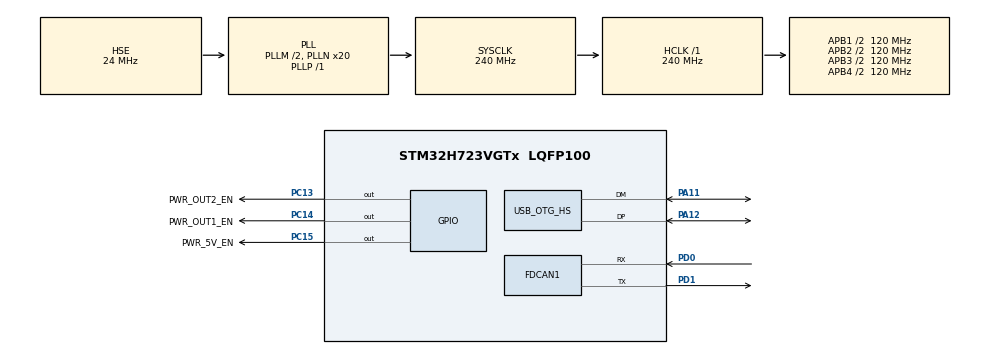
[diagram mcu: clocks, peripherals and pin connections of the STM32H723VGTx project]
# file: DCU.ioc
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CORTEX_M7.default_mode_Activation=1
FDCAN1.AutoRetransmission=ENABLE
FDCAN1.CalculateBaudRateNominal=1000000
FDCAN1.CalculateTimeBitNominal=1000
FDCAN1.CalculateTimeQuantumNominal=12.5
FDCAN1.ExtFiltersNbr=4
FDCAN1.NominalPrescaler=1
FDCAN1.NominalSyncJumpWidth=20
FDCAN1.NominalTimeSeg1=59
FDCAN1.NominalTimeSeg2=20
FDCAN1.ProtocolException=ENABLE
FDCAN1.RxBuffersNbr=2
FDCAN1.RxFifo0ElmtsNbr=8
FDCAN1.RxFifo1ElmtsNbr=8
FDCAN1.StdFiltersNbr=4
FDCAN1.TxBuffersNbr=8
FDCAN1.TxEventsNbr=8
FDCAN1.TxFifoQueueElmtsNbr=8
Mcu.Family=STM32H7
Mcu.Name=STM32H723VGTx
Mcu.Package=LQFP100
NVIC.FDCAN1_IT0_IRQn=true\:0\:0\:false\:false\:true\:true\:true\:true
NVIC.OTG_HS_IRQn=true\:0\:0\:false\:false\:true\:false\:true\:true
NVIC.PriorityGroup=NVIC_PRIORITYGROUP_4
NVIC.TIM1_UP_IRQn=true\:0\:0\:false\:false\:true\:true\:true\:true
PA11.Mode=Device_Only_FS
PA11.Signal=USB_OTG_HS_DM
PA12.Mode=Device_Only_FS
PA12.Signal=USB_OTG_HS_DP
PA13(JTMS/SWDIO).Mode=Serial_Wire
PA13(JTMS/SWDIO).Signal=DEBUG_JTMS-SWDIO
PA14(JTCK/SWCLK).Mode=Serial_Wire
PA14(JTCK/SWCLK).Signal=DEBUG_JTCK-SWCLK
PC13.GPIO_Label=PWR_OUT2_EN
PC13.Signal=GPIO_Output
PC14-OSC32_IN.GPIO_Label=PWR_OUT1_EN
PC14-OSC32_IN.GPIO_PuPd=GPIO_PULLDOWN
PC14-OSC32_IN.Signal=GPIO_Output
PC15-OSC32_OUT.GPIO_Label=PWR_5V_EN
PC15-OSC32_OUT.Signal=GPIO_Output
PD0.Mode=FDCAN_Activate
PD0.Signal=FDCAN1_RX
PD1.Mode=FDCAN_Activate
PD1.Signal=FDCAN1_TX
PH0-OSC_IN.Mode=HSE-External-Oscillator
PH0-OSC_IN.Signal=RCC_OSC_IN
PH1-OSC_OUT.Mode=HSE-External-Oscillator
PH1-OSC_OUT.Signal=RCC_OSC_OUT
ProjectManager.HeapSize=0x200
ProjectManager.StackSize=0x400
ProjectManager.TargetToolchain=CMake
RCC.ADCFreq_Value=48375000
RCC.APB1Freq_Value=120000000
RCC.APB2Freq_Value=120000000
RCC.APB3Freq_Value=120000000
RCC.APB4Freq_Value=120000000
RCC.CortexFreq_Value=240000000
RCC.D1PPRE=RCC_APB3_DIV2
RCC.D2PPRE1=RCC_APB1_DIV2
RCC.D2PPRE2=RCC_APB2_DIV2
RCC.D3PPRE=RCC_APB4_DIV2
RCC.DIVM1=2
RCC.DIVN1=20
RCC.DIVP1=1
RCC.DIVQ1=3
RCC.HCLKFreq_Value=240000000
RCC.HSE_VALUE=24000000
RCC.PLL2FRACN=0
RCC.PLL3FRACN=0
RCC.PLLFRACN=0
RCC.PLLSourceVirtual=RCC_PLLSOURCE_HSE
RCC.SYSCLKFreq_VALUE=240000000
RCC.SYSCLKSource=RCC_SYSCLKSOURCE_PLLCLK
RCC.USBCLockSelection=RCC_USBCLKSOURCE_HSI48
RCC.USBFreq_Value=48000000
TIM1.Period=20-1
TIM1.Prescaler=24000-1
TIM2.Prescaler=239
USB_DEVICE.CLASS_NAME_HS=CDC
USB_DEVICE.VirtualMode=Cdc
USB_DEVICE.VirtualModeHS=Cdc_HS
USB_OTG_HS.VirtualMode-Device_Only_FS=Device_Only_FS
VP_MEMORYMAP_VS_MEMORYMAP.Mode=CurAppReg
VP_TIM1_VS_ClockSourceINT.Mode=Internal
VP_TIM2_VS_ClockSourceINT.Mode=Internal
VP_USB_DEVICE_VS_USB_DEVICE_CDC_HS.Mode=CDC_HS
board=custom

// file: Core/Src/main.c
/* USER CODE BEGIN Header */
/**
  ******************************************************************************
  * @file           : main.c
  * @brief          : Main program body
  ******************************************************************************
  * @attention
  *
  * Copyright (c) 2026 STMicroelectronics.
  * All rights reserved.
  *
  * This software is licensed under terms that can be found in the LICENSE file
  * in the root directory of this software component.
  * If no LICENSE file comes with this software, it is provided AS-IS.
  *
  ******************************************************************************
  */
/* USER CODE END Header */
#include "main.h"
#include "fdcan.h"
#include "tim.h"
#include "usb_device.h"
#include "gpio.h"

/* USER CODE BEGIN Includes */
#include "bsp_fdcan.h"
#include <string.h>
#include <stdio.h>

#include "usbd_cdc_if.h"
#include "joint_manager.h"

#include "command_manager.h"
#include "joint_manager.h"
#include "host_protocol.h"
/* USER CODE END Includes */

/* USER CODE BEGIN PTD */
DM4310_Feedback feedback;
/* USER CODE END PTD */

/* USER CODE BEGIN PD */
volatile uint8_t target_ready = 0;
float target[4];
/* USER CODE END PD */

/* USER CODE BEGIN PM */

uint32_t send_fail_count = 0;
/* USER CODE END PM */

/* USER CODE BEGIN PV */

uint8_t rx_data[8] = {0};

char usb_msg[128];
uint16_t rxID = 0;
uint8_t buffer[30] = {0};

volatile uint32_t control_tick = 0;
volatile uint32_t control_tick_us = 0;
/* USER CODE END PV */

void SystemClock_Config(void);
static void MPU_Config(void);

int main(void)
{

  /* MPU Configuration--------------------------------------------------------*/
  MPU_Config();

  /* MCU Configuration--------------------------------------------------------*/

  /* Reset of all peripherals, Initializes the Flash interface and the Systick. */
  HAL_Init();

  /* Configure the system clock */
  SystemClock_Config();

  /* Initialize all configured peripherals */
  MX_GPIO_Init();
  MX_USB_DEVICE_Init();
  MX_FDCAN1_Init();
  MX_TIM1_Init();
  MX_TIM2_Init();
  /* USER CODE BEGIN 2 */
  bsp_can_init();
  Joint_Init();

  HAL_FDCAN_ActivateNotification(
    &hfdcan1,
    FDCAN_IT_RX_FIFO0_NEW_MESSAGE,
    0U);
  /* USER CODE BEGIN 2 */

  HAL_GPIO_WritePin(GPIOC,GPIO_PIN_14,GPIO_PIN_SET);

  uint32_t handled_tick = 0;
  HAL_TIM_Base_Start(&htim2);
  HAL_TIM_Base_Start_IT(&htim1);

  uint32_t last_xout_epoch_ms = 0U;
  ControlSnapshot snapshot;
  /* USER CODE END 2 */

  /* Infinite loop */
  /* USER CODE BEGIN WHILE */
  while (1)
  {
    if (Command_GetNewSnapshot(&snapshot, &handled_tick))
    {
      for (uint8_t i = 0; i < JOINT_COUNT; ++i)
        {
          Joint_SendTarget(
              i,
              snapshot.command.target[i],
              snapshot.command.velocity_limit);
        }
    }

    if (Joint_TakeCompletedXoutEpoch())
    {
      (void)HostProtocol_TryTransmitFeedback(HAL_GetTick());
    }

    if ((uint32_t)(HAL_GetTick() - last_xout_epoch_ms) >= 10U)
    {
      bool all_queued = true;

      last_xout_epoch_ms = HAL_GetTick();

      Joint_BeginXoutEpoch();

      for (uint8_t motor_id = 1U; motor_id <= 4U; motor_id++)
      {
        if (!DM4310_RequestOutputPosition(motor_id))
        {
          all_queued = false;
        }
      }

      if (!all_queued)
      {
        Joint_AbortXoutEpoch();
      }
    }
    /* USER CODE END WHILE */

  }
}

void SystemClock_Config(void)
{
  RCC_OscInitTypeDef RCC_OscInitStruct = {0};
  RCC_ClkInitTypeDef RCC_ClkInitStruct = {0};

  /** Supply configuration update enable
  */
  HAL_PWREx_ConfigSupply(PWR_LDO_SUPPLY);

  /** Configure the main internal regulator output voltage
  */
  __HAL_PWR_VOLTAGESCALING_CONFIG(PWR_REGULATOR_VOLTAGE_SCALE0);

  while(!__HAL_PWR_GET_FLAG(PWR_FLAG_VOSRDY)) {}

  /** Initializes the RCC Oscillators according to the specified parameters
  * in the RCC_OscInitTypeDef structure.
  */
  RCC_OscInitStruct.OscillatorType = RCC_OSCILLATORTYPE_HSI48|RCC_OSCILLATORTYPE_HSE;
  RCC_OscInitStruct.HSEState = RCC_HSE_ON;
  RCC_OscInitStruct.HSI48State = RCC_HSI48_ON;
  RCC_OscInitStruct.PLL.PLLState = RCC_PLL_ON;
  RCC_OscInitStruct.PLL.PLLSource = RCC_PLLSOURCE_HSE;
  RCC_OscInitStruct.PLL.PLLM = 2;
  RCC_OscInitStruct.PLL.PLLN = 20;
  RCC_OscInitStruct.PLL.PLLP = 1;
  RCC_OscInitStruct.PLL.PLLQ = 3;
  RCC_OscInitStruct.PLL.PLLR = 2;
  RCC_OscInitStruct.PLL.PLLRGE = RCC_PLL1VCIRANGE_3;
  RCC_OscInitStruct.PLL.PLLVCOSEL = RCC_PLL1VCOWIDE;
  RCC_OscInitStruct.PLL.PLLFRACN = 0;
  if (HAL_RCC_OscConfig(&RCC_OscInitStruct) != HAL_OK)
  {
    Error_Handler();
  }

  /** Initializes the CPU, AHB and APB buses clocks
  */
  RCC_ClkInitStruct.ClockType = RCC_CLOCKTYPE_HCLK|RCC_CLOCKTYPE_SYSCLK
                              |RCC_CLOCKTYPE_PCLK1|RCC_CLOCKTYPE_PCLK2
                              |RCC_CLOCKTYPE_D3PCLK1|RCC_CLOCKTYPE_D1PCLK1;
  RCC_ClkInitStruct.SYSCLKSource = RCC_SYSCLKSOURCE_PLLCLK;
  RCC_ClkInitStruct.SYSCLKDivider = RCC_SYSCLK_DIV1;
  RCC_ClkInitStruct.AHBCLKDivider = RCC_HCLK_DIV1;
  RCC_ClkInitStruct.APB3CLKDivider = RCC_APB3_DIV2;
  RCC_ClkInitStruct.APB1CLKDivider = RCC_APB1_DIV2;
  RCC_ClkInitStruct.APB2CLKDivider = RCC_APB2_DIV2;
  RCC_ClkInitStruct.APB4CLKDivider = RCC_APB4_DIV2;

  if (HAL_RCC_ClockConfig(&RCC_ClkInitStruct, FLASH_LATENCY_3) != HAL_OK)
  {
    Error_Handler();
  }
}

/* USER CODE BEGIN 4 */

void HAL_TIM_PeriodElapsedCallback(TIM_HandleTypeDef *htim)
{
  if (htim->Instance == TIM1)
  {

    const uint32_t next_tick = ++control_tick;
    control_tick_us = __HAL_TIM_GET_COUNTER(&htim2);
    Command_LatchForControlTick(next_tick,HAL_GetTick());
  }
}
/* USER CODE END 4 */

 /* MPU Configuration */

void MPU_Config(void)
{
  MPU_Region_InitTypeDef MPU_InitStruct = {0};

  /* Disables the MPU */
  HAL_MPU_Disable();

  /** Initializes and configures the Region and the memory to be protected
  */
  MPU_InitStruct.Enable = MPU_REGION_ENABLE;
  MPU_InitStruct.Number = MPU_REGION_NUMBER0;
  MPU_InitStruct.BaseAddress = 0x0;
  MPU_InitStruct.Size = MPU_REGION_SIZE_4GB;
  MPU_InitStruct.SubRegionDisable = 0x87;
  MPU_InitStruct.TypeExtField = MPU_TEX_LEVEL0;
  MPU_InitStruct.AccessPermission = MPU_REGION_NO_ACCESS;
  MPU_InitStruct.DisableExec = MPU_INSTRUCTION_ACCESS_DISABLE;
  MPU_InitStruct.IsShareable = MPU_ACCESS_SHAREABLE;
  MPU_InitStruct.IsCacheable = MPU_ACCESS_NOT_CACHEABLE;
  MPU_InitStruct.IsBufferable = MPU_ACCESS_NOT_BUFFERABLE;

  HAL_MPU_ConfigRegion(&MPU_InitStruct);
  /* Enables the MPU */
  HAL_MPU_Enable(MPU_PRIVILEGED_DEFAULT);

}

void Error_Handler(void)
{
  __disable_irq();
  while (1)
  {
  }
}
